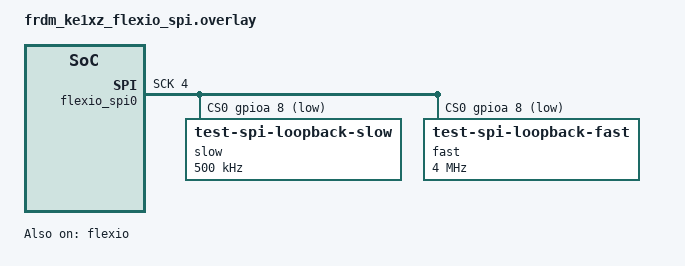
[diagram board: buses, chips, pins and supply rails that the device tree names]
/*
 * Copyright 2024 NXP
 *
 * SPDX-License-Identifier: Apache-2.0
 */

/* To test this sample, connect
 * SDO(J2-3)  -->  SDI(J2-4)
 */

&pinctrl {
	pinmux_flexio_spi0: pinmux_flexio_spi0 {
		group0 {
			pinmux = <FXIO_D6_PTA8>, /* cs */
				 <FXIO_D4_PTB8>, /* sck */
				 <FXIO_D7_PTC3>, /* sdo */
				 <FXIO_D1_PTB11>; /* sdi */
			drive-strength = "low";
			slew-rate = "slow";
		};
	};
};

&flexio {
	status = "okay";

	flexio_spi0: flexio_spi0 {
		compatible = "nxp,flexio-spi";
		status = "okay";
		#address-cells = <1>;
		#size-cells = <0>;
		cs-gpios = <&gpioa 8 GPIO_ACTIVE_LOW>;
		sdo-pin = <7>;
		sdi-pin = <1>;
		sck-pin = <4>;
		pinctrl-0 = <&pinmux_flexio_spi0>;
		pinctrl-names = "default";
		slow@0 {
			status = "okay";
			compatible = "test-spi-loopback-slow";
			reg = <0>;
			spi-max-frequency = <500000>;
		};
		fast@0 {
			compatible = "test-spi-loopback-fast";
			reg = <0>;
			spi-max-frequency = <4000000>;
		};
	};
};

&gpioa {
	status = "okay";
};
